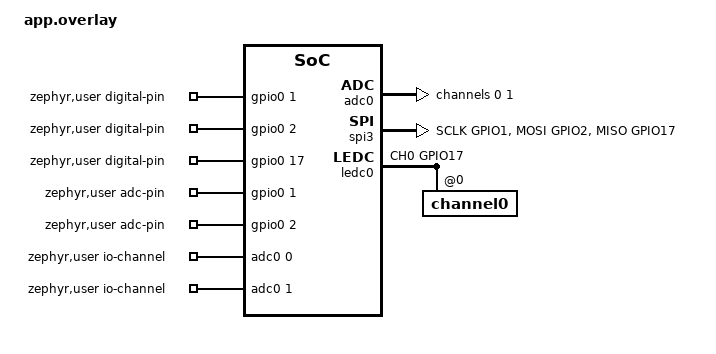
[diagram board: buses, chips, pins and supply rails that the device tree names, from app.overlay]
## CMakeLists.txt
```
# SPDX-License-Identifier: MIT
cmake_minimum_required(VERSION 3.28.0)
find_package(Zephyr REQUIRED HINTS $ENV{ZEPHYR_BASE})
project(waveshare_arduino_smoke LANGUAGES C CXX)
target_sources(app PRIVATE src/main.cpp)
```

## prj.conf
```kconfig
# Static Arduino Core API on Zephyr, without an LLEXT loader.
CONFIG_ARDUINO_API=y
CONFIG_ARDUINO_ENTRY=n
CONFIG_CPP=y
CONFIG_GPIO=y
CONFIG_I2C=y
CONFIG_ADC=n
CONFIG_INPUT=n
CONFIG_MAIN_STACK_SIZE=8192
CONFIG_HEAP_MEM_POOL_SIZE=16384
CONFIG_ARDUINO_API_SERIAL_BUFFER_SIZE=1024
```

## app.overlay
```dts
/* SPDX-License-Identifier: MIT */
#include <zephyr/dt-bindings/pwm/pwm.h>
/ {
    zephyr,user {
        /* Arduino D0..D2 expose only candidate unreserved expansion pins. */
        digital-pin-gpios = <&gpio0 1 GPIO_ACTIVE_HIGH>,
                            <&gpio0 2 GPIO_ACTIVE_HIGH>,
                            <&gpio0 17 GPIO_ACTIVE_HIGH>;
        adc-pin-gpios = <&gpio0 1 GPIO_ACTIVE_HIGH>, <&gpio0 2 GPIO_ACTIVE_HIGH>;
        io-channels = <&adc0 0>, <&adc0 1>;
        /* MicroBlocks PWM uses the error-reporting native driver adapter. */
        pwms = <>;
        pwm-pin-gpios = <>;
        serials = <&usb_serial>;
        i2cs = <&i2c0>;
        /* LCD owns SPI2. Generic MicroBlocks SPI3 is initialized lazily. */
    };
};
&adc0 {
    channel@0 {
        reg = <0>;
        zephyr,gain = "ADC_GAIN_1_4";
        zephyr,reference = "ADC_REF_INTERNAL";
        zephyr,acquisition-time = <ADC_ACQ_TIME_DEFAULT>;
        zephyr,resolution = <12>;
    };
    channel@1 {
        reg = <1>;
        zephyr,gain = "ADC_GAIN_1_4";
        zephyr,reference = "ADC_REF_INTERNAL";
        zephyr,acquisition-time = <ADC_ACQ_TIME_DEFAULT>;
        zephyr,resolution = <12>;
    };
};
&pinctrl {
    generic_spi3: generic_spi3 {
        group1 { pinmux = <SPIM3_SCLK_GPIO1>, <SPIM3_MOSI_GPIO2>; };
        group2 { pinmux = <SPIM3_MISO_GPIO17>; input-enable; };
    };
    generic_pwm: generic_pwm {
        group1 { pinmux = <LEDC_CH0_GPIO17>; output-enable; };
    };
};
&spi3 {
    status = "okay";
    #address-cells = <1>;
    #size-cells = <0>;
    zephyr,deferred-init;
    pinctrl-0 = <&generic_spi3>;
    pinctrl-names = "default";
};
&ledc0 {
    status = "okay";
    zephyr,deferred-init;
    pinctrl-0 = <&generic_pwm>;
    pinctrl-names = "default";
    #address-cells = <1>;
    #size-cells = <0>;
    channel0@0 { reg = <0>; timer = <0>; };
};
```

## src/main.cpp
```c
// SPDX-License-Identifier: MIT
#include <Arduino.h>
#include <Wire.h>

int main(void)
{
    Serial.begin(115200);
    Wire.begin();
    pinMode(D0, INPUT);
    for (;;) {
        // Read RTC seconds only. Do not set the clock or scan unrelated I2C addresses.
        Wire.beginTransmission(0x51);
        Wire.write(0x04);
        int status = Wire.endTransmission(false);
        int value = -1;
        if (status == 0 && Wire.requestFrom((uint8_t)0x51, (size_t)1) == 1) {
            value = Wire.read();
        }
        Serial.print("ArduinoCore-Zephyr static API: millis=");
        Serial.print(millis());
        Serial.print(" D0(GPIO1,input)=");
        Serial.print(digitalRead(D0));
        Serial.print(" RTC read status=");
        Serial.print(status);
        Serial.print(" seconds register=");
        Serial.println(value);
        delay(1000);
    }
}
```
